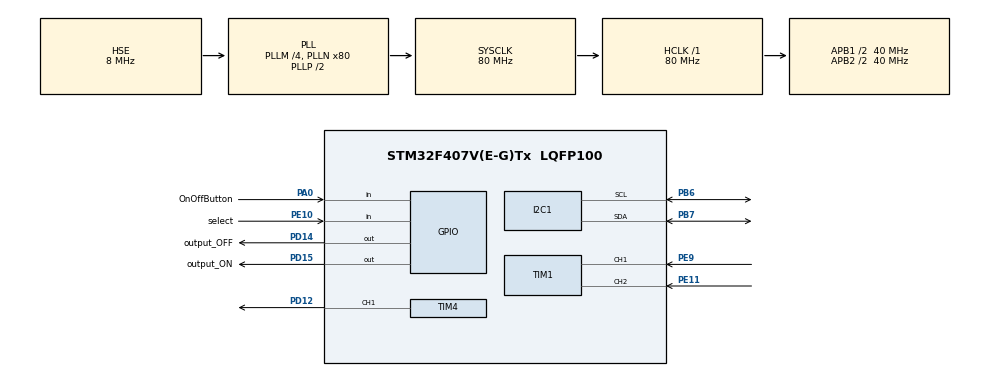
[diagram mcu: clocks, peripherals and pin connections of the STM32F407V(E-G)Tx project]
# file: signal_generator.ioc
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I2C1.I2C_Mode=I2C_Fast
Mcu.Family=STM32F4
Mcu.Name=STM32F407V(E-G)Tx
Mcu.Package=LQFP100
NVIC.PriorityGroup=NVIC_PRIORITYGROUP_0
PA0-WKUP.GPIO_Label=OnOffButton
PA0-WKUP.GPIO_PuPd=GPIO_PULLDOWN
PA0-WKUP.Signal=GPIO_Input
PA13.Mode=Serial_Wire
PA13.Signal=SYS_JTMS-SWDIO
PA14.Mode=Serial_Wire
PA14.Signal=SYS_JTCK-SWCLK
PB6.Mode=I2C
PB6.Signal=I2C1_SCL
PB7.Mode=I2C
PB7.Signal=I2C1_SDA
PD12.Signal=S_TIM4_CH1
PD14.GPIO_Label=output_OFF
PD14.Signal=GPIO_Output
PD15.GPIO_Label=output_ON
PD15.Signal=GPIO_Output
PE10.GPIO_Label=select
PE10.GPIO_PuPd=GPIO_PULLUP
PE10.Signal=GPIO_Input
PE11.Signal=S_TIM1_CH2
PE9.Signal=S_TIM1_CH1
PH0-OSC_IN.Mode=HSE-External-Oscillator
PH0-OSC_IN.Signal=RCC_OSC_IN
PH1-OSC_OUT.Mode=HSE-External-Oscillator
PH1-OSC_OUT.Signal=RCC_OSC_OUT
ProjectManager.HeapSize=0x200
ProjectManager.StackSize=0x400
ProjectManager.TargetToolchain=STM32CubeIDE
RCC.48MHZClocksFreq_Value=22857142.85714286
RCC.AHBFreq_Value=80000000
RCC.APB1CLKDivider=RCC_HCLK_DIV2
RCC.APB1Freq_Value=40000000
RCC.APB1TimFreq_Value=80000000
RCC.APB2CLKDivider=RCC_HCLK_DIV2
RCC.APB2Freq_Value=40000000
RCC.APB2TimFreq_Value=80000000
RCC.CortexFreq_Value=80000000
RCC.HCLKFreq_Value=80000000
RCC.HSE_VALUE=8000000
RCC.HSI_VALUE=16000000
RCC.PLLM=4
RCC.PLLN=80
RCC.PLLQ=7
RCC.PLLSourceVirtual=RCC_PLLSOURCE_HSE
RCC.SYSCLKFreq_VALUE=80000000
RCC.SYSCLKSource=RCC_SYSCLKSOURCE_PLLCLK
RCC.VCOOutputFreq_Value=160000000
SH.S_TIM1_CH1.0=TIM1_CH1,Encoder_Interface
SH.S_TIM1_CH2.0=TIM1_CH2,Encoder_Interface
SH.S_TIM4_CH1.0=TIM4_CH1,PWM Generation1 CH1
TIM1.AutoReloadPreload=TIM_AUTORELOAD_PRELOAD_ENABLE
TIM1.EncoderMode=TIM_ENCODERMODE_TI12
TIM1.IC1Filter=10
TIM1.IC2Filter=10
TIM4.Channel-PWM\ Generation1\ CH1=TIM_CHANNEL_1
TIM4.Period=1000-1
TIM4.Prescaler=80-1
TIM4.Pulse-PWM\ Generation1\ CH1=500
VP_TIM4_VS_ClockSourceINT.Mode=Internal
board=STM32F407G-DISC1

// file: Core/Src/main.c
/* USER CODE BEGIN Header */
/**
  ******************************************************************************
  * @file           : main.c
  * @brief          : Main program body
  ******************************************************************************
  * @attention
  *
  * Copyright (c) 2025 STMicroelectronics.
  * All rights reserved.
  *
  * This software is licensed under terms that can be found in the LICENSE file
  * in the root directory of this software component.
  * If no LICENSE file comes with this software, it is provided AS-IS.
  *
  ******************************************************************************
  */
/* USER CODE END Header */
#include "main.h"

/* USER CODE BEGIN Includes */
#include "pwm.h"
#include "menu.h"
/* USER CODE END Includes */

I2C_HandleTypeDef hi2c1;

TIM_HandleTypeDef htim1;
TIM_HandleTypeDef htim4;

void SystemClock_Config(void);
static void MX_GPIO_Init(void);
static void MX_TIM4_Init(void);
static void MX_I2C1_Init(void);
static void MX_TIM1_Init(void);

/* USER CODE BEGIN 0 */
void programInitilalization(){
	SSD1306_Init(); // initialise the display
	HAL_TIM_Encoder_Start(&htim1, TIM_CHANNEL_ALL);
	HAL_GPIO_WritePin(output_OFF_GPIO_Port, output_OFF_Pin, 1);
	HAL_GPIO_WritePin(output_ON_GPIO_Port, output_ON_Pin, 0);
}
void programStartMessage(){
	SSD1306_Fill(SSD1306_COLOR_BLACK);
	SSD1306_DrawFilledTriangle(64, 10, 30, 44, 100, 44, SSD1306_COLOR_WHITE);
	SSD1306_UpdateScreen();
	HAL_Delay(2000);
	SSD1306_Clear();

	SSD1306_Fill(SSD1306_COLOR_BLACK);
	SSD1306_GotoXY(25, 0);
	SSD1306_Puts("SILICON", &Font_11x18, SSD1306_COLOR_WHITE);
	SSD1306_GotoXY(40, 25);
	SSD1306_Puts("ROOM", &Font_11x18, SSD1306_COLOR_WHITE);
	SSD1306_GotoXY(0, 50);
	SSD1306_Puts("DON'T FORGET SUB !!!!", &Font_7x10, SSD1306_COLOR_WHITE);
	SSD1306_UpdateScreen();
	HAL_Delay(2000);
}
/* USER CODE END 0 */

int main(void)
{

  /* MCU Configuration--------------------------------------------------------*/

  /* Reset of all peripherals, Initializes the Flash interface and the Systick. */
  HAL_Init();

  /* Configure the system clock */
  SystemClock_Config();

  /* Initialize all configured peripherals */
  MX_GPIO_Init();
  MX_TIM4_Init();
  MX_I2C1_Init();
  MX_TIM1_Init();
  /* USER CODE BEGIN 2 */
  programInitilalization();
  programStartMessage();

  /* USER CODE END 2 */

  /* Infinite loop */
  while (1)
  {

    /* USER CODE BEGIN 3 */
	  handleMenuNavigation();

  }
  /* USER CODE END 3 */
}

void SystemClock_Config(void)
{
  RCC_OscInitTypeDef RCC_OscInitStruct = {0};
  RCC_ClkInitTypeDef RCC_ClkInitStruct = {0};

  /** Configure the main internal regulator output voltage
  */
  __HAL_RCC_PWR_CLK_ENABLE();
  __HAL_PWR_VOLTAGESCALING_CONFIG(PWR_REGULATOR_VOLTAGE_SCALE1);

  /** Initializes the RCC Oscillators according to the specified parameters
  * in the RCC_OscInitTypeDef structure.
  */
  RCC_OscInitStruct.OscillatorType = RCC_OSCILLATORTYPE_HSE;
  RCC_OscInitStruct.HSEState = RCC_HSE_ON;
  RCC_OscInitStruct.PLL.PLLState = RCC_PLL_ON;
  RCC_OscInitStruct.PLL.PLLSource = RCC_PLLSOURCE_HSE;
  RCC_OscInitStruct.PLL.PLLM = 4;
  RCC_OscInitStruct.PLL.PLLN = 80;
  RCC_OscInitStruct.PLL.PLLP = RCC_PLLP_DIV2;
  RCC_OscInitStruct.PLL.PLLQ = 7;
  if (HAL_RCC_OscConfig(&RCC_OscInitStruct) != HAL_OK)
  {
    Error_Handler();
  }

  /** Initializes the CPU, AHB and APB buses clocks
  */
  RCC_ClkInitStruct.ClockType = RCC_CLOCKTYPE_HCLK|RCC_CLOCKTYPE_SYSCLK
                              |RCC_CLOCKTYPE_PCLK1|RCC_CLOCKTYPE_PCLK2;
  RCC_ClkInitStruct.SYSCLKSource = RCC_SYSCLKSOURCE_PLLCLK;
  RCC_ClkInitStruct.AHBCLKDivider = RCC_SYSCLK_DIV1;
  RCC_ClkInitStruct.APB1CLKDivider = RCC_HCLK_DIV2;
  RCC_ClkInitStruct.APB2CLKDivider = RCC_HCLK_DIV2;

  if (HAL_RCC_ClockConfig(&RCC_ClkInitStruct, FLASH_LATENCY_2) != HAL_OK)
  {
    Error_Handler();
  }
}

static void MX_I2C1_Init(void)
{

  hi2c1.Instance = I2C1;
  hi2c1.Init.ClockSpeed = 400000;
  hi2c1.Init.DutyCycle = I2C_DUTYCYCLE_2;
  hi2c1.Init.OwnAddress1 = 0;
  hi2c1.Init.AddressingMode = I2C_ADDRESSINGMODE_7BIT;
  hi2c1.Init.DualAddressMode = I2C_DUALADDRESS_DISABLE;
  hi2c1.Init.OwnAddress2 = 0;
  hi2c1.Init.GeneralCallMode = I2C_GENERALCALL_DISABLE;
  hi2c1.Init.NoStretchMode = I2C_NOSTRETCH_DISABLE;
  if (HAL_I2C_Init(&hi2c1) != HAL_OK)
  {
    Error_Handler();
  }

}

static void MX_TIM1_Init(void)
{

  TIM_Encoder_InitTypeDef sConfig = {0};
  TIM_MasterConfigTypeDef sMasterConfig = {0};

  htim1.Instance = TIM1;
  htim1.Init.Prescaler = 0;
  htim1.Init.CounterMode = TIM_COUNTERMODE_UP;
  htim1.Init.Period = 65535;
  htim1.Init.ClockDivision = TIM_CLOCKDIVISION_DIV1;
  htim1.Init.RepetitionCounter = 0;
  htim1.Init.AutoReloadPreload = TIM_AUTORELOAD_PRELOAD_ENABLE;
  sConfig.EncoderMode = TIM_ENCODERMODE_TI12;
  sConfig.IC1Polarity = TIM_ICPOLARITY_RISING;
  sConfig.IC1Selection = TIM_ICSELECTION_DIRECTTI;
  sConfig.IC1Prescaler = TIM_ICPSC_DIV1;
  sConfig.IC1Filter = 10;
  sConfig.IC2Polarity = TIM_ICPOLARITY_RISING;
  sConfig.IC2Selection = TIM_ICSELECTION_DIRECTTI;
  sConfig.IC2Prescaler = TIM_ICPSC_DIV1;
  sConfig.IC2Filter = 10;
  if (HAL_TIM_Encoder_Init(&htim1, &sConfig) != HAL_OK)
  {
    Error_Handler();
  }
  sMasterConfig.MasterOutputTrigger = TIM_TRGO_RESET;
  sMasterConfig.MasterSlaveMode = TIM_MASTERSLAVEMODE_DISABLE;
  if (HAL_TIMEx_MasterConfigSynchronization(&htim1, &sMasterConfig) != HAL_OK)
  {
    Error_Handler();
  }

}

static void MX_TIM4_Init(void)
{

  TIM_ClockConfigTypeDef sClockSourceConfig = {0};
  TIM_MasterConfigTypeDef sMasterConfig = {0};
  TIM_OC_InitTypeDef sConfigOC = {0};

  htim4.Instance = TIM4;
  htim4.Init.Prescaler = 80-1;
  htim4.Init.CounterMode = TIM_COUNTERMODE_UP;
  htim4.Init.Period = 1000-1;
  htim4.Init.ClockDivision = TIM_CLOCKDIVISION_DIV1;
  htim4.Init.AutoReloadPreload = TIM_AUTORELOAD_PRELOAD_DISABLE;
  if (HAL_TIM_Base_Init(&htim4) != HAL_OK)
  {
    Error_Handler();
  }
  sClockSourceConfig.ClockSource = TIM_CLOCKSOURCE_INTERNAL;
  if (HAL_TIM_ConfigClockSource(&htim4, &sClockSourceConfig) != HAL_OK)
  {
    Error_Handler();
  }
  if (HAL_TIM_PWM_Init(&htim4) != HAL_OK)
  {
    Error_Handler();
  }
  sMasterConfig.MasterOutputTrigger = TIM_TRGO_RESET;
  sMasterConfig.MasterSlaveMode = TIM_MASTERSLAVEMODE_DISABLE;
  if (HAL_TIMEx_MasterConfigSynchronization(&htim4, &sMasterConfig) != HAL_OK)
  {
    Error_Handler();
  }
  sConfigOC.OCMode = TIM_OCMODE_PWM1;
  sConfigOC.Pulse = 500;
  sConfigOC.OCPolarity = TIM_OCPOLARITY_HIGH;
  sConfigOC.OCFastMode = TIM_OCFAST_DISABLE;
  if (HAL_TIM_PWM_ConfigChannel(&htim4, &sConfigOC, TIM_CHANNEL_1) != HAL_OK)
  {
    Error_Handler();
  }
  HAL_TIM_MspPostInit(&htim4);

}

static void MX_GPIO_Init(void)
{
  GPIO_InitTypeDef GPIO_InitStruct = {0};

  /* GPIO Ports Clock Enable */
  __HAL_RCC_GPIOH_CLK_ENABLE();
  __HAL_RCC_GPIOA_CLK_ENABLE();
  __HAL_RCC_GPIOE_CLK_ENABLE();
  __HAL_RCC_GPIOD_CLK_ENABLE();
  __HAL_RCC_GPIOB_CLK_ENABLE();

  /*Configure GPIO pin Output Level */
  HAL_GPIO_WritePin(GPIOD, output_OFF_Pin|output_ON_Pin, GPIO_PIN_RESET);

  /*Configure GPIO pin : OnOffButton_Pin */
  GPIO_InitStruct.Pin = OnOffButton_Pin;
  GPIO_InitStruct.Mode = GPIO_MODE_INPUT;
  GPIO_InitStruct.Pull = GPIO_PULLDOWN;
  HAL_GPIO_Init(OnOffButton_GPIO_Port, &GPIO_InitStruct);

  /*Configure GPIO pin : select_Pin */
  GPIO_InitStruct.Pin = select_Pin;
  GPIO_InitStruct.Mode = GPIO_MODE_INPUT;
  GPIO_InitStruct.Pull = GPIO_PULLUP;
  HAL_GPIO_Init(select_GPIO_Port, &GPIO_InitStruct);

  /*Configure GPIO pins : output_OFF_Pin output_ON_Pin */
  GPIO_InitStruct.Pin = output_OFF_Pin|output_ON_Pin;
  GPIO_InitStruct.Mode = GPIO_MODE_OUTPUT_PP;
  GPIO_InitStruct.Pull = GPIO_NOPULL;
  GPIO_InitStruct.Speed = GPIO_SPEED_FREQ_LOW;
  HAL_GPIO_Init(GPIOD, &GPIO_InitStruct);

}

void Error_Handler(void)
{
  __disable_irq();
  while (1)
  {
  }
}
